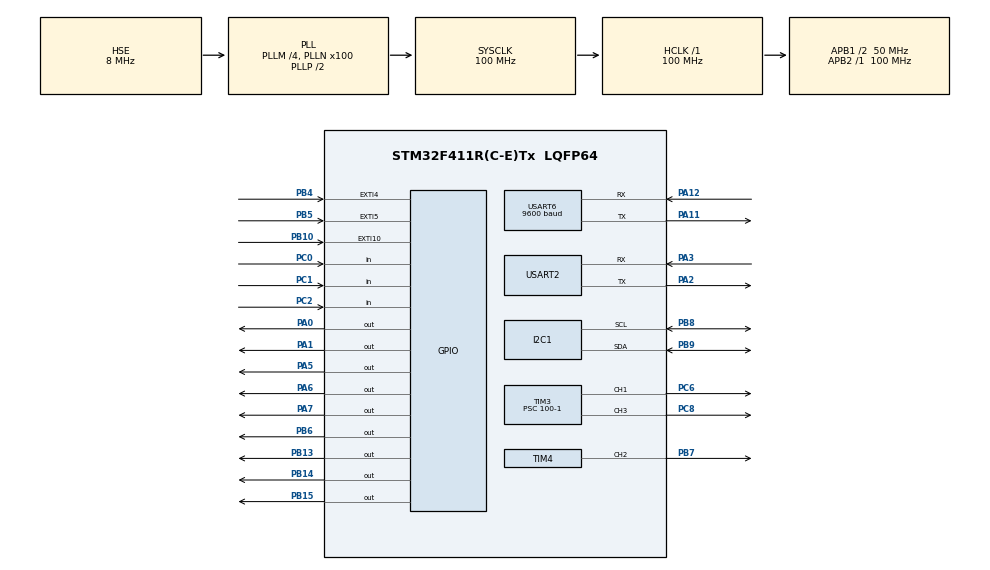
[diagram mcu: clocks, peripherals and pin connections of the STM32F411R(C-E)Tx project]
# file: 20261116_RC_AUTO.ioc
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FREERTOS.Mutexes01=lcdMutex,Dynamic,NULL,Available;dispMutex,Dynamic,NULL,Available;ledMutex,Dynamic,NULL,Available
FREERTOS.Queues01=btnQue,16,uint32_t,0,Dynamic,NULL,NULL;commQueue,16,uint32_t,0,Dynamic,NULL,NULL;RCQue,16,uint32_t,0,Dynamic,NULL,NULL;soundQue,16,uint32_t,0,Dynamic,NULL,NULL
FREERTOS.Tasks01=defaultTask,0,128,StartDefaultTask,Default,NULL,Dynamic,NULL,NULL;MotorTask,0,256,StartMotorTask,Default,NULL,Dynamic,NULL,NULL;ButtonTask,0,128,StartButtonTask,Default,NULL,Dynamic,NULL,NULL;CommTask,0,128,StartCommTask,Default,NULL,Dynamic,NULL,NULL;RCTask,0,128,StartRCTask,Default,NULL,Dynamic,NULL,NULL;DistanceTask,0,128,StartTask06,Default,NULL,Dynamic,NULL,NULL;SoundTask,0,128,StartTask07,Default,NULL,Dynamic,NULL,NULL
FREERTOS.configUSE_NEWLIB_REENTRANT=1
Mcu.Family=STM32F4
Mcu.Name=STM32F411R(C-E)Tx
Mcu.Package=LQFP64
NVIC.EXTI15_10_IRQn=true\:5\:0\:false\:false\:true\:true\:true\:true\:true
NVIC.EXTI4_IRQn=true\:5\:0\:false\:false\:true\:true\:true\:true\:true
NVIC.EXTI9_5_IRQn=true\:5\:0\:false\:false\:true\:true\:true\:true\:true
NVIC.PriorityGroup=NVIC_PRIORITYGROUP_4
NVIC.TIM1_UP_TIM10_IRQn=true\:15\:0\:false\:false\:true\:false\:false\:true\:true
NVIC.TIM2_IRQn=true\:5\:0\:false\:false\:true\:true\:true\:true\:true
NVIC.TIM3_IRQn=true\:5\:0\:false\:false\:true\:true\:true\:true\:true
NVIC.TimeBase=TIM1_UP_TIM10_IRQn
NVIC.TimeBaseIP=TIM10
NVIC.USART2_IRQn=true\:5\:0\:false\:false\:true\:true\:true\:true\:true
NVIC.USART6_IRQn=true\:5\:0\:false\:false\:true\:true\:true\:true\:true
PA0-WKUP.Signal=GPIO_Output
PA1.Signal=GPIO_Output
PA11.Mode=Asynchronous
PA11.Signal=USART6_TX
PA12.Mode=Asynchronous
PA12.Signal=USART6_RX
PA13.Mode=Serial_Wire
PA13.Signal=SYS_JTMS-SWDIO
PA14.Mode=Serial_Wire
PA14.Signal=SYS_JTCK-SWCLK
PA2.Mode=Asynchronous
PA2.Signal=USART2_TX
PA3.Mode=Asynchronous
PA3.Signal=USART2_RX
PA5.Signal=GPIO_Output
PA6.Signal=GPIO_Output
PA7.Signal=GPIO_Output
PB10.GPIO_ModeDefaultEXTI=GPIO_MODE_IT_RISING_FALLING
PB10.Signal=GPXTI10
PB13.Signal=GPIO_Output
PB14.Signal=GPIO_Output
PB15.Signal=GPIO_Output
PB4.GPIO_ModeDefaultEXTI=GPIO_MODE_IT_RISING_FALLING
PB4.Signal=GPXTI4
PB5.GPIO_ModeDefaultEXTI=GPIO_MODE_IT_RISING_FALLING
PB5.Signal=GPXTI5
PB6.Signal=GPIO_Output
PB7.Signal=S_TIM4_CH2
PB8.Mode=I2C
PB8.Signal=I2C1_SCL
PB9.Mode=I2C
PB9.Signal=I2C1_SDA
PC0.Signal=GPIO_Input
PC1.Signal=GPIO_Input
PC2.Signal=GPIO_Input
PC6.Signal=S_TIM3_CH1
PC8.Signal=S_TIM3_CH3
PH0\ -\ OSC_IN.Mode=HSE-External-Oscillator
PH0\ -\ OSC_IN.Signal=RCC_OSC_IN
PH1\ -\ OSC_OUT.Mode=HSE-External-Oscillator
PH1\ -\ OSC_OUT.Signal=RCC_OSC_OUT
ProjectManager.HeapSize=0x200
ProjectManager.StackSize=0x400
ProjectManager.TargetToolchain=STM32CubeIDE
RCC.48MHZClocksFreq_Value=50000000
RCC.AHBFreq_Value=100000000
RCC.APB1CLKDivider=RCC_HCLK_DIV2
RCC.APB1Freq_Value=50000000
RCC.APB1TimFreq_Value=100000000
RCC.APB2Freq_Value=100000000
RCC.APB2TimFreq_Value=100000000
RCC.CortexFreq_Value=100000000
RCC.HCLKFreq_Value=100000000
RCC.HSE_VALUE=8000000
RCC.HSI_VALUE=16000000
RCC.LSE_VALUE=32768
RCC.PLLM=4
RCC.PLLN=100
RCC.PLLSourceVirtual=RCC_PLLSOURCE_HSE
RCC.SYSCLKFreq_VALUE=100000000
RCC.SYSCLKSource=RCC_SYSCLKSOURCE_PLLCLK
RCC.VCOOutputFreq_Value=200000000
SH.S_TIM3_CH1.0=TIM3_CH1,PWM Generation1 CH1
SH.S_TIM3_CH3.0=TIM3_CH3,PWM Generation3 CH3
SH.S_TIM4_CH2.0=TIM4_CH2,PWM Generation2 CH2
TIM2.Period=0xFFFFFFFF
TIM2.Prescaler=100-1
TIM3.AutoReloadPreload=TIM_AUTORELOAD_PRELOAD_ENABLE
TIM3.Channel-PWM\ Generation1\ CH1=TIM_CHANNEL_1
TIM3.Channel-PWM\ Generation3\ CH3=TIM_CHANNEL_3
TIM3.Period=1000-1
TIM3.Prescaler=100-1
TIM4.Channel-PWM\ Generation2\ CH2=TIM_CHANNEL_2
TIM4.Prescaler=100-1
USART2.VirtualMode=VM_ASYNC
USART6.BaudRate=9600
USART6.VirtualMode=VM_ASYNC
VP_FREERTOS_VS_CMSIS_V1.Mode=CMSIS_V1
VP_SYS_VS_tim10.Mode=TIM10
VP_TIM2_VS_ClockSourceINT.Mode=Internal
VP_TIM3_VS_ClockSourceINT.Mode=Internal
VP_TIM4_VS_ClockSourceINT.Mode=Internal
board=custom

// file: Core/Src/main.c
/* USER CODE BEGIN Header */
/**
  ******************************************************************************
  * @file           : main.c
  * @brief          : Main program body
  ******************************************************************************
  * @attention
  *
  * Copyright (c) 2026 STMicroelectronics.
  * All rights reserved.
  *
  * This software is licensed under terms that can be found in the LICENSE file
  * in the root directory of this software component.
  * If no LICENSE file comes with this software, it is provided AS-IS.
  *
  ******************************************************************************
  */
/* USER CODE END Header */
#include "main.h"
#include "cmsis_os.h"
#include "i2c.h"
#include "tim.h"
#include "usart.h"
#include "gpio.h"

void SystemClock_Config(void);
void MX_FREERTOS_Init(void);

int main(void)
{

  /* MCU Configuration--------------------------------------------------------*/

  /* Reset of all peripherals, Initializes the Flash interface and the Systick. */
  HAL_Init();

  /* Configure the system clock */
  SystemClock_Config();

  /* Initialize all configured peripherals */
  MX_GPIO_Init();
  MX_TIM3_Init();
  MX_I2C1_Init();
  MX_USART6_UART_Init();
  MX_TIM2_Init();
  MX_TIM4_Init();
  MX_USART2_UART_Init();

  /* Call init function for freertos objects (in cmsis_os2.c) */
  MX_FREERTOS_Init();

  /* Start scheduler */
  osKernelStart();

  /* We should never get here as control is now taken by the scheduler */

  /* Infinite loop */
  while (1)
  {

  }
}

void SystemClock_Config(void)
{
  RCC_OscInitTypeDef RCC_OscInitStruct = {0};
  RCC_ClkInitTypeDef RCC_ClkInitStruct = {0};

  /** Configure the main internal regulator output voltage
  */
  __HAL_RCC_PWR_CLK_ENABLE();
  __HAL_PWR_VOLTAGESCALING_CONFIG(PWR_REGULATOR_VOLTAGE_SCALE1);

  /** Initializes the RCC Oscillators according to the specified parameters
  * in the RCC_OscInitTypeDef structure.
  */
  RCC_OscInitStruct.OscillatorType = RCC_OSCILLATORTYPE_HSE;
  RCC_OscInitStruct.HSEState = RCC_HSE_ON;
  RCC_OscInitStruct.PLL.PLLState = RCC_PLL_ON;
  RCC_OscInitStruct.PLL.PLLSource = RCC_PLLSOURCE_HSE;
  RCC_OscInitStruct.PLL.PLLM = 4;
  RCC_OscInitStruct.PLL.PLLN = 100;
  RCC_OscInitStruct.PLL.PLLP = RCC_PLLP_DIV2;
  RCC_OscInitStruct.PLL.PLLQ = 4;
  if (HAL_RCC_OscConfig(&RCC_OscInitStruct) != HAL_OK)
  {
    Error_Handler();
  }

  /** Initializes the CPU, AHB and APB buses clocks
  */
  RCC_ClkInitStruct.ClockType = RCC_CLOCKTYPE_HCLK|RCC_CLOCKTYPE_SYSCLK
                              |RCC_CLOCKTYPE_PCLK1|RCC_CLOCKTYPE_PCLK2;
  RCC_ClkInitStruct.SYSCLKSource = RCC_SYSCLKSOURCE_PLLCLK;
  RCC_ClkInitStruct.AHBCLKDivider = RCC_SYSCLK_DIV1;
  RCC_ClkInitStruct.APB1CLKDivider = RCC_HCLK_DIV2;
  RCC_ClkInitStruct.APB2CLKDivider = RCC_HCLK_DIV1;

  if (HAL_RCC_ClockConfig(&RCC_ClkInitStruct, FLASH_LATENCY_3) != HAL_OK)
  {
    Error_Handler();
  }
}

void HAL_TIM_PeriodElapsedCallback(TIM_HandleTypeDef *htim)
{
  if (htim->Instance == TIM10)
  {
    HAL_IncTick();
  }
}

void Error_Handler(void)
{
  __disable_irq();
  while (1)
  {
  }
}

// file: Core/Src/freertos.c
/* USER CODE BEGIN Header */
/**
 ******************************************************************************
 * File Name          : freertos.c
 * Description        : Code for freertos applications
 ******************************************************************************
 * @attention
 *
 * Copyright (c) 2026 STMicroelectronics.
 * All rights reserved.
 *
 * This software is licensed under terms that can be found in the LICENSE file
 * in the root directory of this software component.
 * If no LICENSE file comes with this software, it is provided AS-IS.
 *
 ******************************************************************************
 */
/* USER CODE END Header */

#include "FreeRTOS.h"
#include "task.h"
#include "main.h"
#include "cmsis_os.h"

/* USER CODE BEGIN Includes */
#include "ap/task/button_task/button_task.h"
#include "ap/task/motor_control_task/motor_control_task.h"
#include "ap/task/RC_task/RC_task.h"
#include "ap/task/distance_task/distance_task.h"
#include "ap/task/sound_task/sound_task.h"
#include "ap/message.h"
#include "i2c.h"
#include "driver/lcd/lcd.h"
#include "driver/led/led.h"
#include <stdio.h>
#include "usart.h"
#include <string.h>
/* USER CODE END Includes */

/* USER CODE BEGIN Variables */
QueueHandle_t disQueHandle;

/* USER CODE END Variables */
osThreadId defaultTaskHandle;
osThreadId MotorTaskHandle;
osThreadId ButtonTaskHandle;
osThreadId CommTaskHandle;
osThreadId RCTaskHandle;
osThreadId DistanceTaskHandle;
osThreadId SoundTaskHandle;
osMessageQId btnQueHandle;
osMessageQId commQueueHandle;
osMessageQId RCQueHandle;
osMessageQId soundQueHandle;
osMutexId lcdMutexHandle;
osMutexId dispMutexHandle;
osMutexId ledMutexHandle;

void StartDefaultTask(void const * argument);
void StartMotorTask(void const * argument);
void StartButtonTask(void const * argument);
void StartCommTask(void const * argument);
void StartRCTask(void const * argument);
void StartTask06(void const * argument);
void StartTask07(void const * argument);

void MX_FREERTOS_Init(void); /* (MISRA C 2004 rule 8.1) */

/* GetIdleTaskMemory prototype (linked to static allocation support) */
void vApplicationGetIdleTaskMemory( StaticTask_t **ppxIdleTaskTCBBuffer, StackType_t **ppxIdleTaskStackBuffer, uint32_t *pulIdleTaskStackSize );

/* USER CODE BEGIN GET_IDLE_TASK_MEMORY */
static StaticTask_t xIdleTaskTCBBuffer;
static StackType_t xIdleStack[configMINIMAL_STACK_SIZE];

void vApplicationGetIdleTaskMemory( StaticTask_t **ppxIdleTaskTCBBuffer, StackType_t **ppxIdleTaskStackBuffer, uint32_t *pulIdleTaskStackSize )
{
	*ppxIdleTaskTCBBuffer = &xIdleTaskTCBBuffer;
	*ppxIdleTaskStackBuffer = &xIdleStack[0];
	*pulIdleTaskStackSize = configMINIMAL_STACK_SIZE;
	/* place for user code */
}
/* USER CODE END GET_IDLE_TASK_MEMORY */

void MX_FREERTOS_Init(void) {
  /* Create the mutex(es) */
  /* definition and creation of lcdMutex */
  osMutexDef(lcdMutex);
  lcdMutexHandle = osMutexCreate(osMutex(lcdMutex));

  /* definition and creation of dispMutex */
  osMutexDef(dispMutex);
  dispMutexHandle = osMutexCreate(osMutex(dispMutex));

  /* definition and creation of ledMutex */
  osMutexDef(ledMutex);
  ledMutexHandle = osMutexCreate(osMutex(ledMutex));

  /* Create the queue(s) */
  /* definition and creation of btnQue */
  osMessageQDef(btnQue, 16, uint32_t);
  btnQueHandle = osMessageCreate(osMessageQ(btnQue), NULL);

  /* definition and creation of commQueue */
  osMessageQDef(commQueue, 16, uint32_t);
  commQueueHandle = osMessageCreate(osMessageQ(commQueue), NULL);

  /* definition and creation of RCQue */
  osMessageQDef(RCQue, 16, uint32_t);
  RCQueHandle = osMessageCreate(osMessageQ(RCQue), NULL);

  /* definition and creation of soundQue */
  osMessageQDef(soundQue, 16, uint32_t);
  soundQueHandle = osMessageCreate(osMessageQ(soundQue), NULL);

  /* USER CODE BEGIN RTOS_QUEUES */
  disQueHandle = xQueueCreate(1, sizeof(distance_data_t));
	/* add queues, ... */
  /* USER CODE END RTOS_QUEUES */

  /* Create the thread(s) */
  /* definition and creation of defaultTask */
  osThreadDef(defaultTask, StartDefaultTask, osPriorityNormal, 0, 128);
  defaultTaskHandle = osThreadCreate(osThread(defaultTask), NULL);

  /* definition and creation of MotorTask */
  osThreadDef(MotorTask, StartMotorTask, osPriorityNormal, 0, 256);
  MotorTaskHandle = osThreadCreate(osThread(MotorTask), NULL);

  /* definition and creation of ButtonTask */
  osThreadDef(ButtonTask, StartButtonTask, osPriorityNormal, 0, 128);
  ButtonTaskHandle = osThreadCreate(osThread(ButtonTask), NULL);

  /* definition and creation of CommTask */
  osThreadDef(CommTask, StartCommTask, osPriorityNormal, 0, 128);
  CommTaskHandle = osThreadCreate(osThread(CommTask), NULL);

  /* definition and creation of RCTask */
  osThreadDef(RCTask, StartRCTask, osPriorityNormal, 0, 128);
  RCTaskHandle = osThreadCreate(osThread(RCTask), NULL);

  /* definition and creation of DistanceTask */
  osThreadDef(DistanceTask, StartTask06, osPriorityNormal, 0, 128);
  DistanceTaskHandle = osThreadCreate(osThread(DistanceTask), NULL);

  /* definition and creation of SoundTask */
  osThreadDef(SoundTask, StartTask07, osPriorityNormal, 0, 128);
  SoundTaskHandle = osThreadCreate(osThread(SoundTask), NULL);

}

void StartDefaultTask(void const * argument)
{
  /* USER CODE BEGIN StartDefaultTask */
	if(osMutexWait(lcdMutexHandle, osWaitForever) == osOK){
		Lcd_init(&hi2c1);
		osMutexRelease(lcdMutexHandle);
	}
	/* Infinite loop */
	for(;;)
	{
		osDelay(1);
	}
  /* USER CODE END StartDefaultTask */
}

void StartMotorTask(void const * argument)
{
  /* USER CODE BEGIN StartMotorTask */

	motor_control_task_init();

	/* Infinite loop */
	for(;;)
	{
		motor_control_task();

		osDelay(10);
	}
  /* USER CODE END StartMotorTask */
}

void StartButtonTask(void const * argument)
{
  /* USER CODE BEGIN StartButtonTask */

	button_task_init();
	/* Infinite loop */
	for(;;)
	{
		button_task();
		osDelay(10);
	}
  /* USER CODE END StartButtonTask */
}

void StartCommTask(void const * argument)
{
  for(;;)
  {
    osDelay(1);
  }
}

void StartRCTask(void const * argument)
{
  /* USER CODE BEGIN StartRCTask */
	RC_task_init();
  /* Infinite loop */
  for(;;)
  {
	  RC_task();

    osDelay(1);
  }
  /* USER CODE END StartRCTask */
}

void StartTask06(void const * argument)
{
  /* USER CODE BEGIN StartTask06 */
  distance_task_init();
  for(;;)
  {
    distance_task();
    osDelay(10);
  }
  /* USER CODE END StartTask06 */
}

void StartTask07(void const * argument)
{
  /* USER CODE BEGIN StartTask07 */
  sound_task_init();
  for(;;)
  {
    sound_task();
    osDelay(10);
  }
  /* USER CODE END StartTask07 */
}
